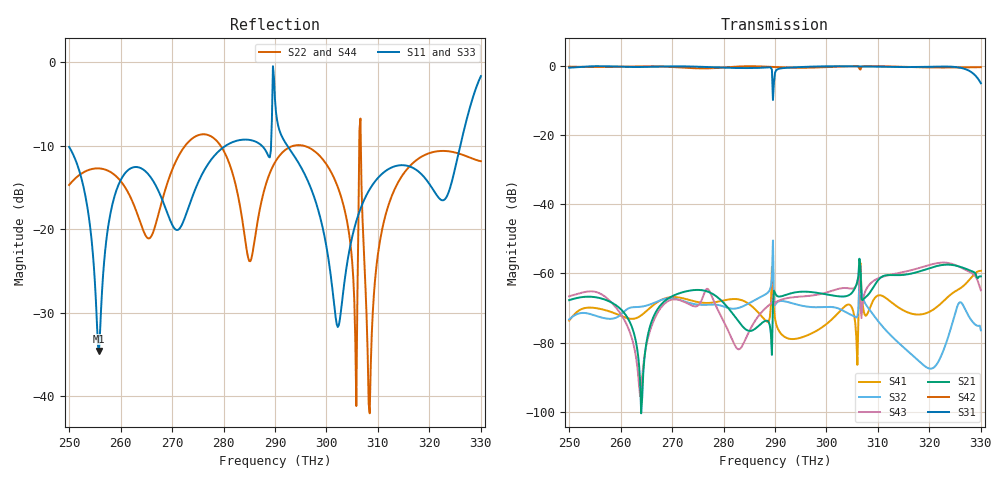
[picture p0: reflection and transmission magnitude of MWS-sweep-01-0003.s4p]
! TOUCHSTONE file generated by CST MICROWAVE STUDIO
! Date and time: Sun Sep 21 00:08:10 2025
! Project name: biblioteca3.cst
! Parameters = {t_sub=2000; t_air=800; k=0; n=0; wavelength_nm=0; H=600; Lx=200; Ly=260; P=520}
! Header version: 2018
! Port assignment regex: !\s*Touchstone port\s*([0-9]+)\s*=\s*(CST MWS port|CST DS port)\s*([0-9]+|Zmin|Zmax)\s*\(\"(.*)\"\)(\s*mode\s*([0-9]+))?.*
! Touchstone port assignment:
! Touchstone port 1 = CST MWS port Zmin ("") mode 1
! Touchstone port 2 = CST MWS port Zmin ("") mode 2
! Touchstone port 3 = CST MWS port Zmax ("") mode 1
! Touchstone port 4 = CST MWS port Zmax ("") mode 2
! S-Parameters are not renormalized. Unphysical impedance of 50 will be written to the file.
# GHz S RI R 50
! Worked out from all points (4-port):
!   401 points, 250 THz to 330 THz, reference per port
!   strongest paths, dB at 250 THz, 270 THz, 290 THz, 310 THz, 330 THz:
!     S31: -0.4, 0.0, -1.9, -0.2, -5.0
!     S42: -0.2, -0.2, -0.3, 0.0, -0.3
!     S21: -67.7, -66.6, -65.6, -62.0, -60.8
!     S43: -66.6, -67.6, -68.5, -61.4, -64.9
!     S32: -73.3, -67.2, -69.2, -73.7, -76.5
!     S41: -73.7, -66.8, -73.1, -66.4, -59.2
!   lowest |S11| = -34.6 dB at 255.8 THz (marker M1), VSWR 1.04
!   |S11| at or under -10 dB: start of sweep to 280.5 THz; 287.4 THz to 289.2 THz (1.81 THz wide, 0.628 % of centre); 292.4 THz to 326 THz (33.63 THz wide, 10.9 % of centre)
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250000  -0.2171 -0.2221  0.000244 -0.000347  0.3751 0.8733  0.000114 7.27e-05
        0.000256 -0.000321  0.0654 -0.1717  0.000211 -0.00014  -0.889 0.4196
        0.3751 0.8734  0.000193 -9.82e-05  0.0116 0.3104  7.59e-06 0.000533
        -5.68e-06 0.000208  -0.8889 0.4192  1.56e-06 0.000468  -0.1742 -0.0587
255800  -0.0114 -0.0147  -0.000291 -0.000362  0.9048 -0.4244  0.000221 -0.00012
        -0.00031 -0.000317  -0.1266 -0.1931  -0.00012 -0.00019  0.00249 0.9728
        0.9056 -0.424  -0.000137 -0.000193  -0.00407 -0.0179  0.000443 8.09e-05
        0.000286 -0.00012  0.00218 0.9733  0.000521 2.25e-05  -0.1256 0.1937
265800  -0.2015 0.0395  -2.93e-05 -0.000129  -0.9772 -0.0541  -0.000302 -0.000209
        -4.95e-05 -0.000172  -0.0843 -0.0286  -8.5e-05 0.000323  0.8114 -0.5778
        -0.9774 -0.0542  -0.000121 0.000337  0.1959 0.0615  0.000162 0.000208
        -0.0003 -0.000117  0.8112 -0.5775  9.25e-05 0.000125  0.000525 -0.0891
279600  -0.177 0.2454  0.000326 0.000244  0.9509 0.0636  0.000317 0.000104
        0.000304 0.000264  0.0778 0.3001  -6.82e-05 -0.000211  -0.4593 0.8324
        0.9509 0.0639  -3.16e-05 -0.000339  0.1427 0.2668  -7.91e-05 -0.000219
        0.000374 0.000144  -0.4595 0.8325  -0.000114 -0.000204  0.2955 -0.0942
296800  0.1309 -0.1252  0.000408 -0.000343  -0.9833 -0.00174  -0.00014 -1.63e-05
        0.000426 -0.000334  0.2989 -0.0608  0.000327 0.00015  -0.6417 -0.7035
        -0.9832 -0.00176  0.000316 8.68e-05  -0.1305 -0.1256  -7.32e-05 -0.000575
        -0.000127 -3.67e-05  -0.642 -0.7027  -2.22e-05 -0.000475  0.0877 -0.292
316600  0.0136 -0.2338  -0.00119 4.58e-05  0.8328 -0.5016  0.000268 1.42e-05
        -0.000999 5.81e-05  0.1414 -0.2008  -1.64e-05 0.000139  0.9681 0.000878
        0.8317 -0.5011  -5.88e-05 3.08e-05  -0.2128 -0.0972  0.000879 -0.00048
        0.00025 7.77e-05  0.9684 0.00294  0.00105 -0.000399  -0.141 -0.2015
330000  -0.743 -0.3585  0.00076 0.000528  -0.4244 0.3732  -0.000826 -0.000577
        0.000787 0.000453  -0.2474 -0.062  2.98e-05 7.02e-05  -0.7633 -0.5935
        -0.4244 0.3734  0.000145 4.05e-05  -0.2607 -0.7827  -0.000582 0.000205
        -0.000891 -0.00063  -0.7635 -0.5933  -0.00054 0.000188  0.1211 0.2244
